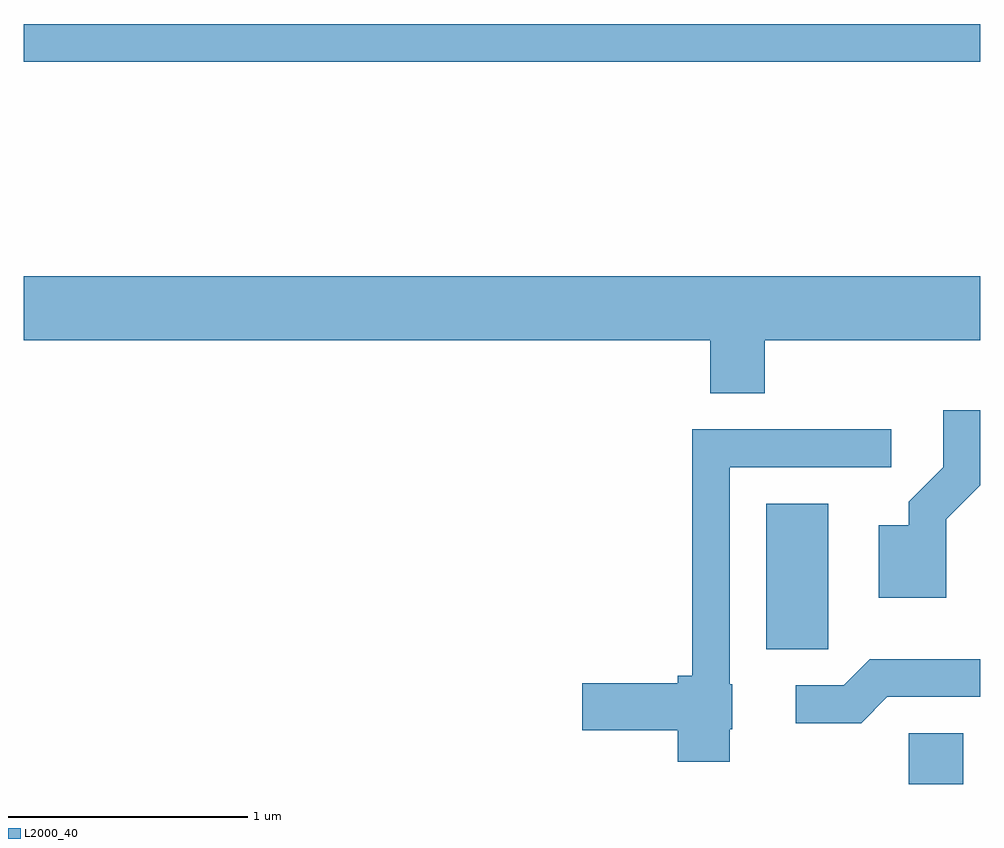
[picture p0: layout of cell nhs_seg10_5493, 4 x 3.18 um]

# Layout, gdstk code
import gdstk
lib = gdstk.Library(unit=1e-6, precision=1e-09)
def R(c, l, rs):  # rectangles x0, y0, x1, y1
    for r in rs: c.add(gdstk.rectangle(r[:2], r[2:], *l))
def P(c, l, *ps):  # polygons
    for p in ps: c.add(gdstk.Polygon(p, *l))
L2000_40 = (2000, 40)

nhs_seg10_5493 = lib.new_cell('nhs_seg10_5493')
R(nhs_seg10_5493, L2000_40, [(351.311,2096.522,351.539,2096.734), (350.716,2097.086,350.974,2097.694), (347.611,2099.541,351.611,2099.699)])
P(nhs_seg10_5493, L2000_40, [(350.709,2098.376),(351.611,2098.376),(351.611,2098.644),(347.611,2098.644),(347.611,2098.376),(350.481,2098.376),(350.481,2098.156),(350.709,2098.156)],
  [(351.469,2097.629),(351.611,2097.771),(351.611,2098.084),(351.456,2098.084),(351.456,2097.847),(351.311,2097.702),(351.311,2097.604),(351.186,2097.604),(351.186,2097.301),(351.469,2097.301)],
  [(350.564,2096.75),(350.574,2096.75),(350.574,2096.94),(350.564,2096.94),(350.564,2097.846),(351.238,2097.846),(351.238,2098.004),(350.406,2098.004),(350.406,2096.974),(350.346,2096.974),(350.346,2096.944),(349.946,2096.944),(349.946,2096.746),(350.346,2096.746),(350.346,2096.616),(350.564,2096.616)],
  [(351.222,2096.886),(351.611,2096.886),(351.611,2097.044),(351.149,2097.044),(351.039,2096.934),(350.838,2096.934),(350.838,2096.776),(351.112,2096.776)])

lib.write_gds('nhs_seg10_5493.gds')
